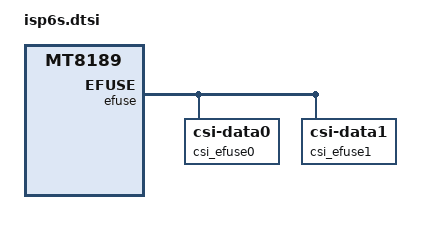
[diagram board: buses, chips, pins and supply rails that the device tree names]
// SPDX-License-Identifier: (GPL-2.0 OR MIT)
/*
 * Copyright (c) 2026 MediaTek Inc.
 */

#include <dt-bindings/memory/mediatek,mt8189-memory-port.h>
#include <dt-bindings/clock/mediatek,mt8189-clk.h>
#include <dt-bindings/interrupt-controller/arm-gic.h>
#include <dt-bindings/interrupt-controller/irq.h>
#include <dt-bindings/gce/mt8189-gce.h>
#include <dt-bindings/power/mediatek,mt8189-power.h>

/ {
	compatible = "mediatek,mt8189";

	fragment@0 {
		target = <&efuse>;
		__overlay__ {
			csi_efuse0: csi-data0@184 {
				reg = <0x184 0x4>;
			};
			csi_efuse1: csi-data1@188 {
				reg = <0x188 0x4>;
			};
		};
	};

	fragment@1 {
		target-path = "/soc";
		__overlay__ {
			seninf_top: seninf-top@1a004000 {
				status = "disabled";
			};

			camsv2: camsv2@1a092000 {
				status = "disabled";
			};

			camsv3: camsv3@1a093000 {
				status = "disabled";
			};

			camsv4: camsv4@1a094000 {
				status = "disabled";
			};

			camsv5: camsv5@1a095000 {
				status = "disabled";
			};

			camsv6: camsv6@1a096000 {
				status = "disabled";
			};

			camsv7: camsv7@1a097000 {
				status = "disabled";
			};

			imgsys_config: imgsys-config@15020000 {
				compatible = "mediatek,imgsys", "syscon", "simple-mfd";
				reg = <0 0x15020000 0 0x1000>;
				mediatek,larb = <&smi_larb9>, <&smi_larb11>;
				power-domains = <&scpsys MT8189_POWER_DOMAIN_ISP_IMG1>;
				iommus = <&mm_iommu M4U_L9_P0_IMGI_D1>,
					 <&mm_iommu M4U_L9_P1_IMGBI_D1>,
					 <&mm_iommu M4U_L9_P2_DMGI_D1>,
					 <&mm_iommu M4U_L9_P3_DEPI_D1>,
					 <&mm_iommu M4U_L9_P4_LCE_D1>,
					 <&mm_iommu M4U_L9_P5_SMTI_D1>,
					 <&mm_iommu M4U_L9_P6_SMTO_D2>,
					 <&mm_iommu M4U_L9_P7_SMTO_D1>,
					 <&mm_iommu M4U_L9_P8_CRZO_D1>,
					 <&mm_iommu M4U_L9_P9_IMG3O_D1>,
					 <&mm_iommu M4U_L9_P10_VIPI_D1>,
					 <&mm_iommu M4U_L9_P11_SMTI_D5>,
					 <&mm_iommu M4U_L9_P12_TIMGO_D1>,
					 <&mm_iommu M4U_L9_P13_UFBC_W0>,
					 <&mm_iommu M4U_L9_P14_UFBC_R0>,
					 <&mm_iommu M4U_L9_P15_WPE_RDMA1>,
					 <&mm_iommu M4U_L9_P16_WPE_RDMA0>,
					 <&mm_iommu M4U_L9_P17_WPE_WDMA>,
					 <&mm_iommu M4U_L9_P18_MFB_RDMA0>,
					 <&mm_iommu M4U_L9_P19_MFB_RDMA1>,
					 <&mm_iommu M4U_L9_P20_MFB_RDMA2>,
					 <&mm_iommu M4U_L9_P21_MFB_RDMA3>,
					 <&mm_iommu M4U_L9_P22_MFB_RDMA4>,
					 <&mm_iommu M4U_L9_P23_MFB_RDMA5>,
					 <&mm_iommu M4U_L9_P24_MFB_WDMA0>,
					 <&mm_iommu M4U_L9_P25_MFB_WDMA1>;
				clocks = <&imgsys1_clk CLK_IMGSYS1_LARB9>,
					 <&imgsys1_clk CLK_IMGSYS1_DIP>,
					 <&imgsys2_clk CLK_IMGSYS2_LARB9>,
					 <&imgsys2_clk CLK_IMGSYS2_MSS>,
					 <&imgsys2_clk CLK_IMGSYS2_MFB>;
				clock-names = "DIP_CG_IMG_LARB9",
					      "DIP_CG_IMG_DIP",
					      "DIP_CG_IMG_LARB11",
					      "DIP_CG_IMG_DIP_MSS",
					      "DIP_CG_IMG_MFB_DIP";
				#address-cells = <2>;
				#size-cells = <2>;
				ranges;

				msfdl@15810000 {
					compatible = "mediatek,msfdl";
					reg = <0 0x15810000 0 0x1000>;
					interrupts = <GIC_SPI 501 IRQ_TYPE_LEVEL_HIGH 0>;
					iommus = <&mm_iommu M4U_L9_P18_MFB_RDMA0>,
						 <&mm_iommu M4U_L9_P19_MFB_RDMA1>,
						 <&mm_iommu M4U_L9_P20_MFB_RDMA2>,
						 <&mm_iommu M4U_L9_P21_MFB_RDMA3>,
						 <&mm_iommu M4U_L9_P22_MFB_RDMA4>,
						 <&mm_iommu M4U_L9_P23_MFB_RDMA5>,
						 <&mm_iommu M4U_L9_P24_MFB_WDMA0>,
						 <&mm_iommu M4U_L9_P25_MFB_WDMA1>,
						 <&mm_iommu M4U_L11_P18_MFB_RDMA0>,
						 <&mm_iommu M4U_L11_P19_MFB_RDMA1>,
						 <&mm_iommu M4U_L11_P20_MFB_RDMA2>,
						 <&mm_iommu M4U_L11_P21_MFB_RDMA3>,
						 <&mm_iommu M4U_L11_P22_MFB_RDMA4>,
						 <&mm_iommu M4U_L11_P23_MFB_RDMA5>,
						 <&mm_iommu M4U_L11_P24_MFB_WDMA0>,
						 <&mm_iommu M4U_L11_P25_MFB_WDMA1>;
				};

				mssdl@15812000 {
					compatible = "mediatek,mssdl";
					reg = <0 0x15812000 0 0x1000>;
					interrupts = <GIC_SPI 502 IRQ_TYPE_LEVEL_HIGH 0>;
					iommus = <&mm_iommu M4U_L9_P18_MFB_RDMA0>,
						 <&mm_iommu M4U_L9_P19_MFB_RDMA1>,
						 <&mm_iommu M4U_L9_P20_MFB_RDMA2>,
						 <&mm_iommu M4U_L9_P21_MFB_RDMA3>,
						 <&mm_iommu M4U_L9_P22_MFB_RDMA4>,
						 <&mm_iommu M4U_L9_P23_MFB_RDMA5>,
						 <&mm_iommu M4U_L9_P24_MFB_WDMA0>,
						 <&mm_iommu M4U_L9_P25_MFB_WDMA1>,
						 <&mm_iommu M4U_L11_P18_MFB_RDMA0>,
						 <&mm_iommu M4U_L11_P19_MFB_RDMA1>,
						 <&mm_iommu M4U_L11_P20_MFB_RDMA2>,
						 <&mm_iommu M4U_L11_P21_MFB_RDMA3>,
						 <&mm_iommu M4U_L11_P22_MFB_RDMA4>,
						 <&mm_iommu M4U_L11_P23_MFB_RDMA5>,
						 <&mm_iommu M4U_L11_P24_MFB_WDMA0>,
						 <&mm_iommu M4U_L11_P25_MFB_WDMA1>;
				};
			};

			imgsys2-config@15820000 {
				compatible = "mediatek,imgsys2", "syscon", "simple-mfd";
				power-domains = <&scpsys MT8189_POWER_DOMAIN_ISP_IMG2>;
				iommus = <&mm_iommu M4U_L11_P0_IMGI_D1>,
					 <&mm_iommu M4U_L11_P1_IMGBI_D1>,
					 <&mm_iommu M4U_L11_P2_DMGI_D1>,
					 <&mm_iommu M4U_L11_P3_DEPI_D1>,
					 <&mm_iommu M4U_L11_P4_LCE_D1>,
					 <&mm_iommu M4U_L11_P5_SMTI_D1>,
					 <&mm_iommu M4U_L11_P6_SMTO_D2>,
					 <&mm_iommu M4U_L11_P7_SMTO_D1>,
					 <&mm_iommu M4U_L11_P8_CRZO_D1>,
					 <&mm_iommu M4U_L11_P9_IMG3O_D1>,
					 <&mm_iommu M4U_L11_P10_VIPI_D1>,
					 <&mm_iommu M4U_L11_P11_SMTI_D5>,
					 <&mm_iommu M4U_L11_P12_TIMGO_D1>,
					 <&mm_iommu M4U_L11_P13_UFBC_W0>,
					 <&mm_iommu M4U_L11_P14_UFBC_R0>,
					 <&mm_iommu M4U_L11_P15_WPE_RDMA1>,
					 <&mm_iommu M4U_L11_P16_WPE_RDMA0>,
					 <&mm_iommu M4U_L11_P17_WPE_WDMA>,
					 <&mm_iommu M4U_L11_P18_MFB_RDMA0>,
					 <&mm_iommu M4U_L11_P19_MFB_RDMA1>,
					 <&mm_iommu M4U_L11_P20_MFB_RDMA2>,
					 <&mm_iommu M4U_L11_P21_MFB_RDMA3>,
					 <&mm_iommu M4U_L11_P22_MFB_RDMA4>,
					 <&mm_iommu M4U_L11_P23_MFB_RDMA5>,
					 <&mm_iommu M4U_L11_P24_MFB_WDMA0>,
					 <&mm_iommu M4U_L11_P25_MFB_WDMA1>;
				reg = <0 0x15820000 0 0x1000>;

				#address-cells = <2>;
				#size-cells = <2>;
				ranges;

				imgsys-mfb@15820000 {
					compatible = "mediatek,imgsys_mfb";
					reg = <0 0x15820000 0 0x1000>;
				};
			};

			dip_a0: dip-a0@15021000 {
				compatible = "mediatek,dip1";
				reg = <0 0x15021000 0 0xc000>;
				interrupts = <GIC_SPI 345 IRQ_TYPE_LEVEL_HIGH 0>;
				iommus = <&mm_iommu M4U_L9_P0_IMGI_D1>,
					 <&mm_iommu M4U_L9_P1_IMGBI_D1>,
					 <&mm_iommu M4U_L9_P2_DMGI_D1>,
					 <&mm_iommu M4U_L9_P3_DEPI_D1>,
					 <&mm_iommu M4U_L9_P4_LCE_D1>,
					 <&mm_iommu M4U_L9_P5_SMTI_D1>,
					 <&mm_iommu M4U_L9_P6_SMTO_D2>,
					 <&mm_iommu M4U_L9_P7_SMTO_D1>,
					 <&mm_iommu M4U_L9_P8_CRZO_D1>,
					 <&mm_iommu M4U_L9_P9_IMG3O_D1>,
					 <&mm_iommu M4U_L9_P10_VIPI_D1>,
					 <&mm_iommu M4U_L9_P11_SMTI_D5>,
					 <&mm_iommu M4U_L9_P12_TIMGO_D1>,
					 <&mm_iommu M4U_L9_P13_UFBC_W0>,
					 <&mm_iommu M4U_L9_P14_UFBC_R0>,
					 <&mm_iommu M4U_L9_P15_WPE_RDMA1>,
					 <&mm_iommu M4U_L9_P16_WPE_RDMA0>,
					 <&mm_iommu M4U_L9_P17_WPE_WDMA>,
					 <&mm_iommu M4U_L9_P18_MFB_RDMA0>,
					 <&mm_iommu M4U_L9_P19_MFB_RDMA1>,
					 <&mm_iommu M4U_L9_P20_MFB_RDMA2>,
					 <&mm_iommu M4U_L9_P21_MFB_RDMA3>,
					 <&mm_iommu M4U_L9_P22_MFB_RDMA4>,
					 <&mm_iommu M4U_L9_P23_MFB_RDMA5>,
					 <&mm_iommu M4U_L9_P24_MFB_WDMA0>,
					 <&mm_iommu M4U_L9_P25_MFB_WDMA1>;
			};

			msf@15810000 {
				compatible = "mediatek,msf";
				reg = <0 0x15810000 0 0x1000>;
				interrupts = <GIC_SPI 175 IRQ_TYPE_LEVEL_HIGH 0>;
				mboxes = <&gce1 4 0 CMDQ_THR_PRIO_1>;
				msf-frame-done = /bits/ 16 <CMDQ_EVENT_IMG2_MFB_DONE_LINK_MISC>;
				msf-token = /bits/ 16 <CMDQ_SYNC_TOKEN_MSF>;
				mediatek,larb = <&smi_larb9>, <&smi_larb11>;
				power-domains = <&scpsys MT8189_POWER_DOMAIN_ISP_IMG1>,
						<&scpsys MT8189_POWER_DOMAIN_ISP_IMG2>;
				clocks = <&imgsys2_clk CLK_IMGSYS2_LARB9>,
					 <&imgsys2_clk CLK_IMGSYS2_MSS>,
					 <&imgsys2_clk CLK_IMGSYS2_MFB>,
					 <&imgsys2_clk CLK_IMGSYS2_GALS>,
					 <&imgsys1_clk CLK_IMGSYS1_GALS>;
				clock-names = "MFB_CG_IMG_0",
					      "MFB_CG_IMG_1",
					      "MFB_CG_IMG_2",
					      "MFB_CG_IMG_3",
					      "MFB_CG_IMG_4";
				iommus = <&mm_iommu M4U_L9_P18_MFB_RDMA0>,
					 <&mm_iommu M4U_L9_P19_MFB_RDMA1>,
					 <&mm_iommu M4U_L9_P20_MFB_RDMA2>,
					 <&mm_iommu M4U_L9_P21_MFB_RDMA3>,
					 <&mm_iommu M4U_L9_P22_MFB_RDMA4>,
					 <&mm_iommu M4U_L9_P23_MFB_RDMA5>,
					 <&mm_iommu M4U_L9_P24_MFB_WDMA0>,
					 <&mm_iommu M4U_L9_P25_MFB_WDMA1>,
					 <&mm_iommu M4U_L11_P18_MFB_RDMA0>,
					 <&mm_iommu M4U_L11_P19_MFB_RDMA1>,
					 <&mm_iommu M4U_L11_P20_MFB_RDMA2>,
					 <&mm_iommu M4U_L11_P21_MFB_RDMA3>,
					 <&mm_iommu M4U_L11_P22_MFB_RDMA4>,
					 <&mm_iommu M4U_L11_P23_MFB_RDMA5>,
					 <&mm_iommu M4U_L11_P24_MFB_WDMA0>,
					 <&mm_iommu M4U_L11_P25_MFB_WDMA1>;
			};

			mss@15812000 {
				compatible = "mediatek,mss";
				reg = <0 0x15812000 0 0x1000>;
				interrupts = <GIC_SPI 178 IRQ_TYPE_LEVEL_HIGH 0>;
				mboxes = <&gce1 3 0 CMDQ_THR_PRIO_1>;
				mss-frame-done = /bits/ 16 <CMDQ_EVENT_IMG2_MSS_DONE_LINK_MISC>;
				mss-token = /bits/ 16 <CMDQ_SYNC_TOKEN_MSS>;
				power-domains = <&scpsys MT8189_POWER_DOMAIN_ISP_IMG1>,
						<&scpsys MT8189_POWER_DOMAIN_ISP_IMG2>;
				iommus = <&mm_iommu M4U_L9_P18_MFB_RDMA0>,
					 <&mm_iommu M4U_L9_P19_MFB_RDMA1>,
					 <&mm_iommu M4U_L9_P20_MFB_RDMA2>,
					 <&mm_iommu M4U_L9_P21_MFB_RDMA3>,
					 <&mm_iommu M4U_L9_P22_MFB_RDMA4>,
					 <&mm_iommu M4U_L9_P23_MFB_RDMA5>,
					 <&mm_iommu M4U_L9_P24_MFB_WDMA0>,
					 <&mm_iommu M4U_L9_P25_MFB_WDMA1>,
					 <&mm_iommu M4U_L11_P18_MFB_RDMA0>,
					 <&mm_iommu M4U_L11_P19_MFB_RDMA1>,
					 <&mm_iommu M4U_L11_P20_MFB_RDMA2>,
					 <&mm_iommu M4U_L11_P21_MFB_RDMA3>,
					 <&mm_iommu M4U_L11_P22_MFB_RDMA4>,
					 <&mm_iommu M4U_L11_P23_MFB_RDMA5>,
					 <&mm_iommu M4U_L11_P24_MFB_WDMA0>,
					 <&mm_iommu M4U_L11_P25_MFB_WDMA1>;
			};

			wpe_a: wpe-a@15811000 {
				compatible = "mediatek,wpe_a";
				reg = <0 0x15811000 0 0x1000>;
				mediatek,larb = <&smi_larb11>, <&smi_larb9>;
				interrupts = <GIC_SPI 176 IRQ_TYPE_LEVEL_HIGH 0>;
				power-domains = <&scpsys MT8189_POWER_DOMAIN_ISP_IMG1>,
						<&scpsys MT8189_POWER_DOMAIN_ISP_IMG2>;
				clocks = <&imgsys2_clk CLK_IMGSYS2_LARB9>,
					 <&imgsys2_clk CLK_IMGSYS2_WPE>,
					 <&imgsys2_clk CLK_IMGSYS2_LARB9>;
				clock-names = "WPE_CLK_IMG_LARB9",
					      "WPE_CLK_IMG_WPE_A",
					      "WPE_CLK_IMG";
				iommus = <&mm_iommu M4U_L11_P15_WPE_RDMA1>,
					 <&mm_iommu M4U_L11_P16_WPE_RDMA0>,
					 <&mm_iommu M4U_L11_P17_WPE_WDMA>;
			};

			rsc@1b003000 {
				compatible = "mediatek,rsc";
				mediatek,larb = <&smi_larb20>;
				reg = <0 0x1b003000 0 0x1000>;
				power-domains = <&scpsys MT8189_POWER_DOMAIN_ISP_IPE>;

				iommus = <&mm_iommu M4U_L20_P4_RSC_RDMA>,
					 <&mm_iommu M4U_L20_P5_RSC_WDMA>;
				interrupts = <GIC_SPI 182 IRQ_TYPE_LEVEL_HIGH 0>;
				mboxes = <&gce1 2 0 CMDQ_THR_PRIO_1>;
				mediatek,gce-events = <CMDQ_EVENT_IPE_RSC_DONE>;


				clocks = <&ipesys_clk CLK_IPE_RSC>,
					 <&ipesys_clk CLK_IPE_LARB20>;
				clock-names = "RSC_CLK_IPE_RSC",
					      "RSC_CLK_IPE_LARB20";
			};

			/* 0x1a0000ff is fake addr, only for fix build warning */
			cam-mem@1a0000ff {
				compatible = "mediatek,cam_mem";
				reg = <0 0x1a0000ff 0 0x100>;
				/* Dummy iommus for multi-iommu architecture */
				iommus = /* mraw */
					<&mm_iommu M4U_L13_P0_MRAWI>,
					<&mm_iommu M4U_L13_P1_MRAWO_0>,
					<&mm_iommu M4U_L13_P2_MRAWO_1>;
			};

			isp_cmdq: isp-cmdq@15020000 {
				compatible = "mediatek,mtk-isp-cmdq-driver";

				mediatek,gce-client-reg = <&gce1 SUBSYS_1502XXXX 0 0xd000>;
				mediatek,gce-events = <CMDQ_EVENT_IMG1_DIP_FRAME_DONE_P2_0>,
						      <CMDQ_EVENT_IMG1_DIP_FRAME_DONE_P2_1>,
						      <CMDQ_EVENT_IMG1_DIP_FRAME_DONE_P2_2>,
						      <CMDQ_EVENT_IMG1_DIP_FRAME_DONE_P2_3>,
						      <CMDQ_EVENT_IMG1_DIP_FRAME_DONE_P2_4>,
						      <CMDQ_EVENT_IMG1_DIP_FRAME_DONE_P2_5>,
						      <CMDQ_EVENT_IMG1_DIP_FRAME_DONE_P2_6>,
						      <CMDQ_EVENT_IMG1_DIP_FRAME_DONE_P2_7>,
						      <CMDQ_EVENT_IMG1_DIP_FRAME_DONE_P2_8>,
						      <CMDQ_EVENT_IMG1_DIP_FRAME_DONE_P2_9>,
						      <CMDQ_EVENT_IMG1_DIP_FRAME_DONE_P2_10>,
						      <CMDQ_EVENT_IMG1_DIP_FRAME_DONE_P2_11>,
						      <CMDQ_EVENT_IMG1_DIP_FRAME_DONE_P2_12>,
						      <CMDQ_EVENT_IMG1_DIP_FRAME_DONE_P2_13>,
						      <CMDQ_EVENT_IMG1_DIP_FRAME_DONE_P2_14>,
						      <CMDQ_EVENT_IMG1_DIP_FRAME_DONE_P2_15>,
						      <CMDQ_EVENT_IMG1_DIP_FRAME_DONE_P2_16>,
						      <CMDQ_EVENT_IMG1_DIP_FRAME_DONE_P2_17>,
						      <CMDQ_EVENT_IMG1_DIP_FRAME_DONE_P2_18>,
						      <CMDQ_EVENT_IMG2_MFB_DONE_LINK_MISC>,
						      <CMDQ_EVENT_IMG2_MSS_DONE_LINK_MISC>,
						      <CMDQ_EVENT_IMG2_WPE_A_DONE_LINK_MISC>;
				mediatek,gce-event-names = "dip-cq-thread0-frame-done",
							   "dip-cq-thread1-frame-done",
							   "dip-cq-thread2-frame-done",
							   "dip-cq-thread3-frame-done",
							   "dip-cq-thread4-frame-done",
							   "dip-cq-thread5-frame-done",
							   "dip-cq-thread6-frame-done",
							   "dip-cq-thread7-frame-done",
							   "dip-cq-thread8-frame-done",
							   "dip-cq-thread9-frame-done",
							   "dip-cq-thread10-frame-done",
							   "dip-cq-thread11-frame-done",
							   "dip-cq-thread12-frame-done",
							   "dip-cq-thread13-frame-done",
							   "dip-cq-thread14-frame-done",
							   "dip-cq-thread15-frame-done",
							   "dip-cq-thread16-frame-done",
							   "dip-cq-thread17-frame-done",
							   "dip-cq-thread18-frame-done",
							   "dip2-cq-thread21-frame-done",
							   "dip2-cq-thread23-frame-done",
							   "wpe-b-frame-done";
				mboxes = <&gce1 16 CMDQ_THR_PRIO_1>,
					 <&gce1 17 CMDQ_THR_PRIO_1>;

			};

			seninf_top_legacy:seninf-top-legacy@1a004000 {
				compatible = "mediatek,seninf_top";
				reg = <0 0x1a004000 0 0x1000>;
				mediatek,platform = "mt8189";
				mediatek,seninf-max-num = "4";
				nvmem = <&efuse>;
				nvmem-names = "mtk_efuse_check";
				nvmem-cells = <&csi_efuse0 &csi_efuse1>;
				nvmem-cell-names = "csi_efuse_data0", "csi_efuse_data1";

				clocks = <&camsys_main_clk CLK_CAM_M_SENINF>,
					 <&topckgen_clk CLK_TOP_SENINF_SEL>,
					 <&topckgen_clk CLK_TOP_SENINF1_SEL>,
					 <&vlp_cksys_clk CLK_VLP_CK_CAMTG0_SEL>,
					 <&vlp_cksys_clk CLK_VLP_CK_CAMTG1_SEL>,
					 <&vlp_cksys_clk CLK_VLP_CK_CAMTG2_SEL>,
					 <&topckgen_clk CLK_TOP_F26M_CK_D2>,
					 <&topckgen_clk CLK_TOP_UNIVPLL_192M_D8>,
					 <&topckgen_clk CLK_TOP_UNIVPLL_D6_D8>,
					 <&topckgen_clk CLK_TOP_UNIVPLL_192M_D4>,
					 <&topckgen_clk CLK_TOP_TCK_26M_MX9>,
					 <&topckgen_clk CLK_TOP_UNIVPLL_192M_D16>,
					 <&topckgen_clk CLK_TOP_UNIVPLL_192M_D32>;
				clock-names = "CAMSYS_SENINF_CGPDN",
					      "TOP_MUX_SENINF",
					      "TOP_MUX_SENINF1",
					      "TOP_MUX_CAMTG",
					      "TOP_MUX_CAMTG1",
					      "TOP_MUX_CAMTG2",
					      "TOP_F26M_CK_D2",
					      "TOP_UNIVP_192M_D8",
					      "TOP_UNIVPLL_D6_D8",
					      "TOP_UNIVP_192M_D4",
					      "TOP_CLK26M",
					      "TOP_UNIVP_192M_D16",
					      "TOP_UNIVP_192M_D32";

				power-domains = <&scpsys MT8189_POWER_DOMAIN_CAM_MAIN>,
						<&scpsys MT8189_POWER_DOMAIN_CSI_RX>;
			};

			seninf1@1a004000 {
				compatible = "mediatek,seninf1";
				reg = <0 0x1a004000 0 0x1000>;
			};

			seninf2@1a005000 {
				compatible = "mediatek,seninf2";
				reg = <0 0x1a005000 0 0x1000>;
			};

			seninf3@1a006000 {
				compatible = "mediatek,seninf3";
				reg = <0 0x1a006000 0 0x1000>;
			};

			seninf4@1a007000 {
				compatible = "mediatek,seninf4";
				reg = <0 0x1a007000 0 0x1000>;
			};

			seninf_n3d_top: seninf-n3d-top@1a004000 {
				compatible = "mediatek,seninf_n3d_top";
				interrupts = <GIC_SPI 135 IRQ_TYPE_LEVEL_HIGH 0>;
				power-domains = <&scpsys MT8189_POWER_DOMAIN_CAM_MAIN>;
				reg = <0 0x1a004000 0 0x100>,
				      <0 0x1a004100 0 0x100>,
				      <0 0x1a004200 0 0x100>;
				reg-names = "seninf_top",
					    "seninf_n3d_a",
					    "seninf_n3d_b";
				clocks = <&camsys_main_clk CLK_CAM_M_SENINF>,
					 <&camsys_main_clk CLK_CAM_M_CAMSYS_MAIN_CAM>,
					 <&camsys_main_clk CLK_CAM_M_CAMSYS_MAIN_CAMTG>,
					 <&topckgen_clk CLK_TOP_CAMTM_SEL>;
				clock-names = "CAMSYS_SENINF_CGPDN",
					      "CAMSYS_CAM_CGPDN",
					      "CAMSYS_CAMTG_CGPDN",
					      "CAMSYS_CAMTM_SEL";
			};

			camisp_legacy: camisp-legacy@1a000000 {
				/* non-v4l2 legacy camera */
				compatible = "mediatek,camisp_legacy";
				reg = <0 0x1a000000 0 0x10000>;
				mediatek,larb = <&smi_larb13>;
				power-domains = <&scpsys MT8189_POWER_DOMAIN_CAM_MAIN>;
				mediatek,platform = "mt8189";
				#clock-cells = <1>;
				/* Camera CCF */
				clocks = <&camsys_main_clk CLK_CAM_M_CAMSYS_MAIN_CAM>,
					 <&camsys_main_clk CLK_CAM_M_CAMSYS_MAIN_CAMTG>,
					 <&camsys_main_clk CLK_CAM_M_CAMSV1>,
					 <&camsys_main_clk CLK_CAM_M_CAMSV2>,
					 <&camsys_main_clk CLK_CAM_M_CAMSV3>,
					 <&camsys_main_clk CLK_CAM_M_LARB13>,
					 <&camsys_main_clk CLK_CAM_M_LARB14>,
					 <&camsys_main_clk CLK_CAM_M_SENINF>,
					 <&camsys_main_clk CLK_CAM_M_CAM2MM_GALS>,
					 <&camsys_rawa_clk CLK_CAM_RA_CAMSYS_RAWA_LARBX>,
					 <&camsys_rawa_clk CLK_CAM_RA_CAMSYS_RAWA_CAM>,
					 <&camsys_rawa_clk CLK_CAM_RA_CAMSYS_RAWA_CAMTG>,
					 <&camsys_rawb_clk CLK_CAM_RB_CAMSYS_RAWB_LARBX>,
					 <&camsys_rawb_clk CLK_CAM_RB_CAMSYS_RAWB_CAM>,
					 <&camsys_rawb_clk CLK_CAM_RB_CAMSYS_RAWB_CAMTG>,
					 <&topckgen_clk CLK_TOP_CAMTM_SEL>;
				clock-names = "CAMSYS_CAM_CGPDN",
					      "CAMSYS_CAMTG_CGPDN",
					      "CAMSYS_CAMSV1_CGPDN",
					      "CAMSYS_CAMSV2_CGPDN",
					      "CAMSYS_CAMSV3_CGPDN",
					      "CAMSYS_LARB13_CGPDN",
					      "CAMSYS_LARB14_CGPDN",
					      "CAMSYS_SENINF_CGPDN",
					      "CAMSYS_MAIN_CAM2MM_GALS_CGPDN",
					      "CAMSYS_RAWALARB16_CGPDN",
					      "CAMSYS_RAWACAM_CGPDN",
					      "CAMSYS_RAWATG_CGPDN",
					      "CAMSYS_RAWBLARB17_CGPDN",
					      "CAMSYS_RAWBCAM_CGPDN",
					      "CAMSYS_RAWBTG_CGPDN",
					      "TOPCKGEN_TOP_MUX_CAMTM";
			};

			cam1_legacy: cam1-legacy@1a030000 {
				/* non-v4l2 legacy camera */
				compatible = "mediatek,cam1_legacy";
				reg = <0 0x1a030000 0 0x8000>;
				interrupts = <GIC_SPI 136 IRQ_TYPE_LEVEL_HIGH 0>;
				iommus = <&mm_iommu M4U_L16_P0_IMGO_R1_A>,
				         <&mm_iommu M4U_L16_P1_RRZO_R1_A>,
				         <&mm_iommu M4U_L16_P2_CQI_R1_A>,
				         <&mm_iommu M4U_L16_P3_BPCI_R1_A>,
				         <&mm_iommu M4U_L16_P4_YUVO_R1_A>,
				         <&mm_iommu M4U_L16_P5_UFDI_R2_A>,
				         <&mm_iommu M4U_L16_P6_RAWI_R2_A>,
				         <&mm_iommu M4U_L16_P7_RAWI_R3_A>,
				         <&mm_iommu M4U_L16_P8_AAO_R1_A>,
				         <&mm_iommu M4U_L16_P9_AFO_R1_A>,
				         <&mm_iommu M4U_L16_P10_FLKO_R1_A>,
				         <&mm_iommu M4U_L16_P11_LCESO_R1_A>,
				         <&mm_iommu M4U_L16_P12_CRZO_R1_A>,
				         <&mm_iommu M4U_L16_P13_LTMSO_R1_A>,
				         <&mm_iommu M4U_L16_P14_RSSO_R1_A>,
				         <&mm_iommu M4U_L16_P15_AAHO_R1_A>,
				         <&mm_iommu M4U_L16_P16_LSCI_R1_A>;
				power-domains = <&scpsys MT8189_POWER_DOMAIN_CAM_SUBA>;
				mediatek,larb = <&smi_larb16>;
			};

			cam1-inner-legacy@1a038000 {
				/* non-v4l2 legacy camera */
				compatible = "mediatek,cam1_inner_legacy";
				reg = <0 0x1a038000 0 0x8000>;
			};

			camsys_rawa_legacy: camsys-rawa-legacy@1a04f000 {
				/* non-v4l2 legacy camera */
				compatible = "mediatek,camsys_rawa_legacy";
				reg = <0 0x1a04f000 0 0x1000>;
				#clock-cells = <1>;
			};

			cam2_legacy: cam2-legacy@1a050000 {
				/* non-v4l2 legacy camera */
				compatible = "mediatek,cam2_legacy";
				reg = <0 0x1a050000 0 0x8000>;
				nvmem = <&efuse>;
				nvmem-names = "mtk_efuse_check";
				nvmem-cells = <&isp_efuse0>;
				nvmem-cell-names = "isp_efuse_data0";
				interrupts = <GIC_SPI 137 IRQ_TYPE_LEVEL_HIGH 0>;
				iommus = <&mm_iommu M4U_L17_P0_IMGO_R1_B>,
				         <&mm_iommu M4U_L17_P1_RRZO_R1_B>,
				         <&mm_iommu M4U_L17_P2_CQI_R1_B>,
				         <&mm_iommu M4U_L17_P3_BPCI_R1_B>,
				         <&mm_iommu M4U_L17_P4_YUVO_R1_B>,
				         <&mm_iommu M4U_L17_P5_UFDI_R2_B>,
				         <&mm_iommu M4U_L17_P6_RAWI_R2_B>,
				         <&mm_iommu M4U_L17_P7_RAWI_R3_B>,
				         <&mm_iommu M4U_L17_P8_AAO_R1_B>,
				         <&mm_iommu M4U_L17_P9_AFO_R1_B>,
				         <&mm_iommu M4U_L17_P10_FLKO_R1_B>,
				         <&mm_iommu M4U_L17_P11_LCESO_R1_B>,
				         <&mm_iommu M4U_L17_P12_CRZO_R1_B>,
				         <&mm_iommu M4U_L17_P13_LTMSO_R1_B>,
				         <&mm_iommu M4U_L17_P14_RSSO_R1_B>,
				         <&mm_iommu M4U_L17_P15_AAHO_R1_B>,
				         <&mm_iommu M4U_L17_P16_LSCI_R1_B>;
				power-domains = <&scpsys MT8189_POWER_DOMAIN_CAM_SUBB>;
				mediatek,larb = <&smi_larb17>;
			};

			cam2-inner-legacy@1a058000 {
				/* non-v4l2 legacy camera */
				compatible = "mediatek,cam2_inner_legacy";
				reg = <0 0x1a058000 0 0x8000>;
			};

			camsys_rawb_legacy: camsys-rawb-legacy@1a06f000 {
				/* non-v4l2 legacy camera */
				compatible = "mediatek,camsys_rawb_legacy";
				reg = <0 0x1a06f000 0 0x1000>;
				#clock-cells = <1>;
			};

			/* Dummy */
			cam3_legacy: cam3-legacy@1a070000 {
				/* non-v4l2 legacy camera */
				compatible = "mediatek,cam3_legacy";
				reg = <0 0x1a070000 0 0x8000>;
			};

			/* Dummy */
			cam3-inner-legacy@1a078000 {
				/* non-v4l2 legacy camera */
				compatible = "mediatek,cam3_inner_legacy";
				reg = <0 0x1a078000 0 0x8000>;
			};

			/* Dummy */
			camsys_rawc_legacy: camsys-rawc-legacy@1a08f000 {
				/* non-v4l2 legacy camera */
				compatible = "mediatek,camsys_rawc_legacy";
				reg = <0 0x1a08f000 0 0x1000>;
				#clock-cells = <1>;
			};

			camsv2_legacy: camsv2-legacy@1a092000 {
				/* non-v4l2 legacy camera */
				compatible = "mediatek,camsv2_legacy";
				reg = <0 0x1a092000 0 0x1000>;
				interrupts = <GIC_SPI 143 IRQ_TYPE_LEVEL_HIGH 0>;
				mediatek,larb = <&smi_larb13>;
			};

			camsv3_legacy: camsv3-legacy@1a093000 {
				/* non-v4l2 legacy camera */
				compatible = "mediatek,camsv3_legacy";
				reg = <0 0x1a093000 0 0x1000>;
				interrupts = <GIC_SPI 144 IRQ_TYPE_LEVEL_HIGH 0>;
				mediatek,larb = <&smi_larb13>;
			};

			camsv4_legacy: camsv4-legacy@1a094000 {
				/* non-v4l2 legacy camera */
				compatible = "mediatek,camsv4_legacy";
				reg = <0 0x1a094000 0 0x1000>;
				interrupts = <GIC_SPI 145 IRQ_TYPE_LEVEL_HIGH 0>;
				iommus = <&mm_iommu M4U_L13_P6_CAMSV_4>;
				mediatek,larb = <&smi_larb13>;
			};

			camsv5_legacy: camsv5-legacy@1a095000 {
				/* non-v4l2 legacy camera */
				compatible = "mediatek,camsv5_legacy";
				reg = <0 0x1a095000 0 0x1000>;
				interrupts = <GIC_SPI 146 IRQ_TYPE_LEVEL_HIGH 0>;
				iommus = <&mm_iommu M4U_L13_P7_CAMSV_5>;
				mediatek,larb = <&smi_larb13>;
			};

			camsv6_legacy: camsv6-legacy@1a096000 {
				/* non-v4l2 legacy camera */
				compatible = "mediatek,camsv6_legacy";
				reg = <0 0x1a096000 0 0x1000>;
				interrupts = <GIC_SPI 150 IRQ_TYPE_LEVEL_HIGH 0>;
				iommus = <&mm_iommu M4U_L13_P8_CAMSV_6>;
				mediatek,larb = <&smi_larb13>;
			};

			camsv7_legacy: camsv7-legacy@1a097000 {
				/* non-v4l2 legacy camera */
				compatible = "mediatek,camsv7_legacy";
				reg = <0 0x1a097000 0 0x1000>;
				interrupts = <GIC_SPI 151 IRQ_TYPE_LEVEL_HIGH 0>;
				mediatek,larb = <&smi_larb13>;
			};
		};
	};
};
